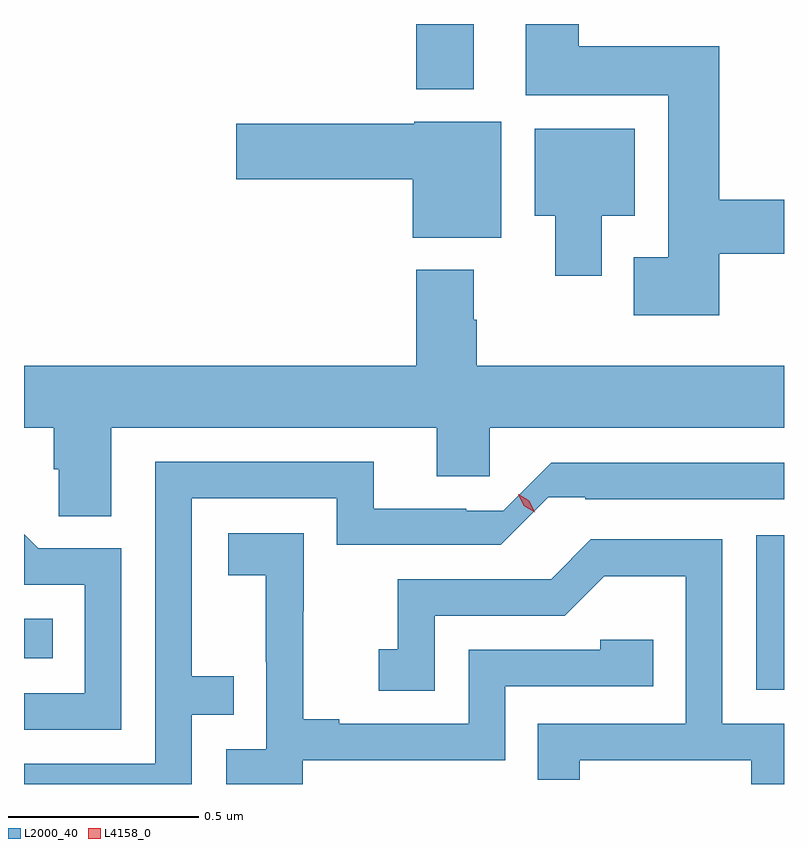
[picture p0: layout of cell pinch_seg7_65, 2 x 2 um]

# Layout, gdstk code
import gdstk
lib = gdstk.Library(unit=1e-6, precision=1e-09)
def R(c, l, rs):  # rectangles x0, y0, x1, y1
    for r in rs: c.add(gdstk.rectangle(r[:2], r[2:], *l))
def P(c, l, *ps):  # polygons
    for p in ps: c.add(gdstk.Polygon(p, *l))
L2000_40 = (2000, 40)
L4158_0 = (4158, 0)

pinch_seg7_65 = lib.new_cell('pinch_seg7_65')
R(pinch_seg7_65, L2000_40, [(973.452,1066.527,973.525,1066.933), (971.525,1066.61,971.6,1066.714), (972.557,1068.107,972.709,1068.279)])
P(pinch_seg7_65, L2000_40, [(973.355,1067.674),(973.525,1067.674),(973.525,1067.816),(973.355,1067.816),(973.355,1068.22),(972.985,1068.22),(972.985,1068.279),(972.845,1068.279),(972.845,1068.092),(973.22,1068.092),(973.22,1067.665),(973.13,1067.665),(973.13,1067.513),(973.355,1067.513)],
  [(972.781,1068.022),(972.552,1068.022),(972.552,1068.017),(972.084,1068.017),(972.084,1067.87),(972.548,1067.87),(972.548,1067.717),(972.781,1067.717)],
  [(973.045,1067.774),(973.132,1067.774),(973.132,1068.004),(972.869,1068.004),(972.869,1067.774),(972.923,1067.774),(972.923,1067.616),(973.045,1067.616)],
  [(971.755,1067.216),(972.611,1067.216),(972.611,1067.089),(972.75,1067.089),(972.75,1067.216),(973.525,1067.216),(973.525,1067.38),(972.717,1067.38),(972.717,1067.501),(972.709,1067.501),(972.709,1067.632),(972.557,1067.632),(972.557,1067.38),(971.525,1067.38),(971.525,1067.216),(971.603,1067.216),(971.603,1067.107),(971.616,1067.107),(971.616,1066.984),(971.755,1066.984)],
  [(971.967,1066.461),(972.077,1066.461),(972.077,1066.562),(971.967,1066.562),(971.967,1067.031),(972.348,1067.031),(972.348,1066.908),(972.779,1066.908),(972.905,1067.034),(973.002,1067.034),(973.002,1067.028),(973.525,1067.028),(973.525,1067.124),(972.912,1067.124),(972.786,1066.998),(972.689,1066.998),(972.689,1067.004),(972.445,1067.004),(972.445,1067.127),(971.871,1067.127),(971.871,1066.332),(971.525,1066.332),(971.525,1066.279),(971.967,1066.279)],
  [(972.258,1066.341),(972.792,1066.341),(972.792,1066.536),(973.181,1066.536),(973.181,1066.659),(973.041,1066.659),(973.041,1066.632),(972.696,1066.632),(972.696,1066.437),(972.355,1066.437),(972.355,1066.45),(972.26,1066.45),(972.26,1066.733),(972.261,1066.733),(972.261,1066.939),(972.063,1066.939),(972.063,1066.829),(972.161,1066.829),(972.161,1066.601),(972.162,1066.601),(972.162,1066.371),(972.057,1066.371),(972.057,1066.279),(972.258,1066.279)],
  [(971.781,1066.899),(971.562,1066.899),(971.525,1066.936),(971.525,1066.803),(971.685,1066.803),(971.685,1066.518),(971.525,1066.518),(971.525,1066.422),(971.781,1066.422)],
  [(973.525,1066.437),(973.362,1066.437),(973.362,1066.923),(973.017,1066.923),(972.912,1066.818),(972.508,1066.818),(972.508,1066.633),(972.459,1066.633),(972.459,1066.524),(972.606,1066.524),(972.606,1066.722),(972.948,1066.722),(973.052,1066.826),(973.266,1066.826),(973.266,1066.437),(972.877,1066.437),(972.877,1066.29),(972.988,1066.29),(972.988,1066.341),(973.439,1066.341),(973.439,1066.279),(973.525,1066.279)])
P(pinch_seg7_65, L4158_0, [(972.869,1066.994),(972.84,1067.011),(972.826,1067.041),(972.826,1067.041),(972.827,1067.041),(972.855,1067.024),(972.869,1066.994),(972.869,1066.994)])

lib.write_gds('pinch_seg7_65.gds')
